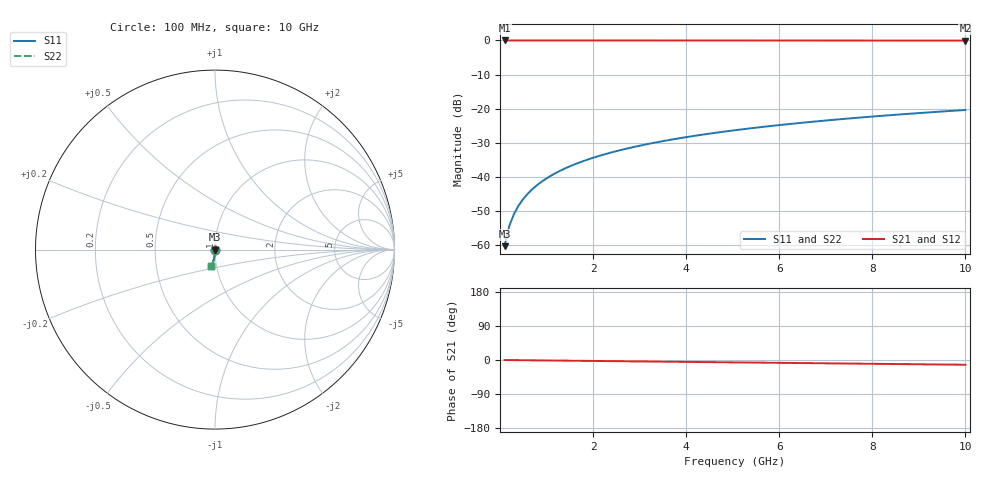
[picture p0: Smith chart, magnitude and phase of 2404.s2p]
# Hz S RI R 50.00
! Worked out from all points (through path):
!   100 points, 100 MHz to 10 GHz, reference 50 ohm
!   highest |S21| = 0.00 dB at 100 MHz (marker M1); lowest = 0.0 dB at 10 GHz (marker M2)
!   group delay of S21, straight-line fit = 3.49 ps
!   lowest |S11| = -60.2 dB at 100 MHz (marker M3), VSWR 1.00, Z = 50 - j0.0957 ohm
!   |S11| at or under -10 dB: start of sweep to end of sweep
!   |S22| runs from -60.2 to -20.4 dB; largest |S21 - S12| = 0
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1e8  0.00019 -0.000957  0.9998 -0.00217  0.9998 -0.00217  0.00019 -0.000957
2e8  0.000184 -0.00191  0.9998 -0.00433  0.9998 -0.00433  0.000184 -0.00191
3e8  0.000173 -0.00287  0.9998 -0.0065  0.9998 -0.0065  0.000173 -0.00287
4e8  0.000158 -0.00383  0.9998 -0.00866  0.9998 -0.00866  0.000158 -0.00383
5e8  0.000139 -0.00479  0.9997 -0.0108  0.9997 -0.0108  0.000139 -0.00479
6e8  0.000115 -0.00574  0.9997 -0.013  0.9997 -0.013  0.000115 -0.00574
7e8  8.69e-05 -0.0067  0.9997 -0.0152  0.9997 -0.0152  8.69e-05 -0.0067
8e8  5.48e-05 -0.00766  0.9996 -0.0173  0.9996 -0.0173  5.48e-05 -0.00766
9e8  1.85e-05 -0.00862  0.9996 -0.0195  0.9996 -0.0195  1.85e-05 -0.00862
1.1e9  -6.66e-05 -0.0105  0.9994 -0.0238  0.9994 -0.0238  -6.66e-05 -0.0105
1.4e9  -0.000226 -0.0134  0.9992 -0.0303  0.9992 -0.0303  -0.000226 -0.0134
1.8e9  -0.000496 -0.0172  0.9989 -0.039  0.9989 -0.039  -0.000496 -0.0172
2.1e9  -0.000744 -0.0201  0.9985 -0.0455  0.9985 -0.0455  -0.000744 -0.0201
2.5e9  -0.00113 -0.0239  0.998 -0.0542  0.998 -0.0542  -0.00113 -0.0239
2.9e9  -0.00159 -0.0278  0.9974 -0.0629  0.9974 -0.0629  -0.00159 -0.0278
3.4e9  -0.00225 -0.0326  0.9965 -0.0737  0.9965 -0.0737  -0.00225 -0.0326
4.2e9  -0.00353 -0.0402  0.9947 -0.0911  0.9947 -0.0911  -0.00353 -0.0402
5.1e9  -0.0053 -0.0487  0.9924 -0.1107  0.9924 -0.1107  -0.0053 -0.0487
5.9e9  -0.00715 -0.0563  0.9898 -0.128  0.9898 -0.128  -0.00715 -0.0563
6.7e9  -0.00927 -0.0638  0.987 -0.1453  0.987 -0.1453  -0.00927 -0.0638
8.4e9  -0.0147 -0.0794  0.9796 -0.182  0.9796 -0.182  -0.0147 -0.0794
1e10  -0.0208 -0.0937  0.9712 -0.2162  0.9712 -0.2162  -0.0208 -0.0937
